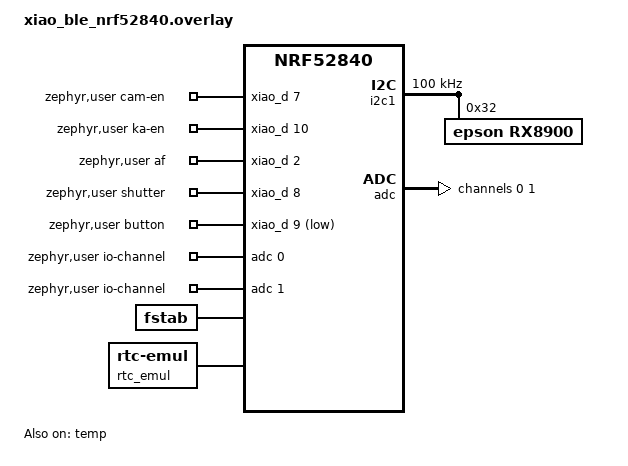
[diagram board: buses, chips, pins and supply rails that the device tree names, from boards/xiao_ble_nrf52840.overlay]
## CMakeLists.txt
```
# SPDX-License-Identifier: Apache-2.0
cmake_minimum_required(VERSION 3.20.0)

find_package(Zephyr REQUIRED HINTS $ENV{ZEPHYR_BASE})
project(shutterclock_fw LANGUAGES C)

add_subdirectory(drivers)

target_sources(app PRIVATE
  src/main.c
  src/camera.c
  src/battery.c
  src/power.c
  src/usb_pm.c
  src/record.c
  src/timekeeping.c
  src/storage.c
  src/ble_adv.c
  src/smp_mgmt.c
  src/config.c
  src/shot_gatt.c
  src/shell_cmds.c
  src/diag.c
  src/wdt_mon.c
)
```

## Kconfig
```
# ShutterClock firmware options

menu "ShutterClock"

config SHUTTERCLOCK_AUTO_PERIOD_S
	int "Automatic trigger period at boot (s, 0 = schedule / shell only)"
	default 0
	help
	  When non-zero the firmware runs a full shot sequence every N seconds
	  without any shell interaction (bench). Can be changed at run time
	  with the 'auto' shell command.

config SHUTTERCLOCK_VBAT_GAIN_PERMILLE
	int "Battery divider trim (per mille, 1000 = nominal 1 M / 100 k)"
	default 1000
	range 900 1100
	help
	  Per-board correction of the x11 divider (resistor tolerance + SAADC
	  gain). Measure VIN with a DMM, compare with 'batt', adjust.

config SHUTTERCLOCK_BLE_ADV_INT_MIN_MS
	int "BLE advertising interval, minimum (ms)"
	default 1000
	range 20 10240

config SHUTTERCLOCK_BLE_ADV_INT_MAX_MS
	int "BLE advertising interval, maximum (ms)"
	default 2000
	range 20 10240

config SHUTTERCLOCK_BOOT_HOLDOFF_MIN
	int "Window for counting consecutive resets (min)"
	default 10
	help
	  Resets that happen within this many minutes of the previous boot are
	  counted as consecutive. There is no scheduler hold-off any more (the
	  scheduler waits for the next slot anyway); the counter only drives the
	  reset-loop halt below, and a BLE connection clears it.

config SHUTTERCLOCK_BOOT_MAX_RESETS
	int "Consecutive resets after which scheduled shots are halted"
	default 12
	range 2 15
	help
	  Reset-loop protection (weak battery browning out on every shot). Cleared
	  by a BLE connection or by running for the window above without a reset.

config SHUTTERCLOCK_WDT_TIMEOUT_S
	int "Hardware watchdog timeout (s)"
	default 120
	range 30 3600
	help
	  Must be longer than the bootloader start-up and the longest shot
	  sequence (boot + release + write timeout, < 60 s).

config SHUTTERCLOCK_TIME_SAVE_MIN
	int "Clock checkpoint period in NVS (min, 0 = off)"
	default 60

config SHUTTERCLOCK_SCHED_DEFAULT_START_MIN
	int "Default window start (local minutes of day)"
	default 420
	help
	  07:00. Overridden by the stored sc/sched/* settings.

config SHUTTERCLOCK_SCHED_DEFAULT_END_MIN
	int "Default window end (local minutes of day)"
	default 1080
	help
	  18:00. Overridden by the stored sc/sched/* settings.

config SHUTTERCLOCK_SCHED_DEFAULT_INTERVAL_MIN
	int "Default trigger interval until configured (min, 0 = off)"
	default 60

config SHUTTERCLOCK_SCHED_DEFAULT_TZ_MIN
	int "Default UTC offset of the site (min)"
	default 540

endmenu

rsource "drivers/Kconfig"

source "Kconfig.zephyr"
```

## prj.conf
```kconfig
# ShutterClock firmware (based on SnowGauge)
# Board: xiao_ble/nrf52840  (Seeed XIAO nRF52840)

# --- Peripherals ---
CONFIG_GPIO=y
CONFIG_SERIAL=y
CONFIG_ADC=y
# nRF52 die temperature sensor (record field temp_dc)
CONFIG_SENSOR=y
CONFIG_TEMP_NRF5=y

# QSPI flash driver so it can be put into deep power-down (records later)
CONFIG_FLASH=y
CONFIG_NORDIC_QSPI_NOR=y

# Device power management (QSPI runtime PM)
CONFIG_PM_DEVICE=y

# --- Console / shell over USB CDC ACM ---
# The xiao_ble board already routes zephyr,console / zephyr,shell-uart to a
# CDC ACM instance (USB device_next stack, initialized at boot).
CONFIG_CDC_ACM_SERIAL_PRODUCT_STRING="ShutterClock"
# Do not enable USB at boot: udc_nrf keeps HFXO + USBD on regardless of VBUS
# (~1.8 mA). usb_pm.c enables the device only while VBUS is present.
CONFIG_CDC_ACM_SERIAL_ENABLE_AT_BOOT=n
CONFIG_UART_LINE_CTRL=y
CONFIG_SHELL=y
CONFIG_SHELL_BACKEND_SERIAL=y
CONFIG_SHELL_PROMPT_UART="sc:~$ "
CONFIG_LOG=y
CONFIG_LOG_DEFAULT_LEVEL=3
CONFIG_CBPRINTF_FP_SUPPORT=y

# --- Misc ---
CONFIG_MAIN_STACK_SIZE=4096
CONFIG_SHELL_STACK_SIZE=4096
CONFIG_BUILD_OUTPUT_UF2=y
CONFIG_REBOOT=y
# Hardware watchdog (wdt_mon.c) + boot diagnostics (diag.c: reset cause via hwinfo,
# fatal errors reboot instead of halting - our own k_sys_fatal_error_handler, so
# CONFIG_RESET_ON_FATAL_ERROR stays off).
CONFIG_WATCHDOG=y

# Debug helpers
CONFIG_DEVICE_SHELL=y

# --- Record storage (step 4a) ---
# LittleFS on the QSPI flash; internal-flash mirror through flash_map.
CONFIG_FILE_SYSTEM=y
CONFIG_FILE_SYSTEM_LITTLEFS=y
CONFIG_FLASH_MAP=y
CONFIG_FLASH_PAGE_LAYOUT=y
CONFIG_FS_LITTLEFS_NUM_FILES=2
CONFIG_FS_LITTLEFS_NUM_DIRS=2
# QSPI flash: runtime PM = deep power-down between accesses (see overlay).
CONFIG_PM_DEVICE_RUNTIME=y
# Only devices with zephyr,pm-device-runtime-auto (the QSPI flash) get runtime
# PM (SnowGauge lesson: the Nordic default enables it for every device).
CONFIG_PM_DEVICE_RUNTIME_DEFAULT_ENABLE=n
CONFIG_NORDIC_QSPI_NOR_ACTIVE_DWELL_MS=50
# Wall clock: emulated RTC behind the `rtc` alias (timekeeping.c); external RX8900 on I2C (v1.2).
CONFIG_RTC=y
CONFIG_I2C=y
# CRC-16 for the record checksum
CONFIG_CRC=y

# --- BLE (step 4b: status advertising; SMP + calibration GATT follow) ---
CONFIG_BT=y
CONFIG_BT_PERIPHERAL=y
CONFIG_BT_DEVICE_NAME="ShutterClock"
CONFIG_BT_DEVICE_NAME_DYNAMIC=y
CONFIG_BT_DEVICE_NAME_MAX=16
CONFIG_BT_MAX_CONN=1
CONFIG_HWINFO=y
# Larger ACL / L2CAP buffers so SMP file download runs at a usable speed
CONFIG_BT_L2CAP_TX_MTU=498
CONFIG_BT_BUF_ACL_RX_SIZE=502
CONFIG_BT_BUF_ACL_TX_SIZE=502
CONFIG_BT_CTLR_DATA_LENGTH_MAX=251

# --- SMP / mcumgr over BLE (step 4c): fs download + os datetime/echo/reset ---
CONFIG_NET_BUF=y
CONFIG_ZCBOR=y
CONFIG_MCUMGR=y
CONFIG_MCUMGR_TRANSPORT_BT=y
CONFIG_MCUMGR_TRANSPORT_BT_PERM_RW=y
CONFIG_MCUMGR_TRANSPORT_BT_CONN_PARAM_CONTROL=y
CONFIG_MCUMGR_TRANSPORT_BT_REASSEMBLY=y
CONFIG_MCUMGR_TRANSPORT_NETBUF_SIZE=2475
CONFIG_MCUMGR_TRANSPORT_WORKQUEUE_STACK_SIZE=4608
CONFIG_MCUMGR_GRP_OS=y
CONFIG_MCUMGR_GRP_OS_ECHO=y
CONFIG_MCUMGR_GRP_OS_DATETIME=y
CONFIG_MCUMGR_GRP_OS_DATETIME_HOOK=y
CONFIG_MCUMGR_GRP_OS_MCUMGR_PARAMS=y
CONFIG_MCUMGR_GRP_OS_INFO=y
CONFIG_MCUMGR_GRP_FS=y
CONFIG_MCUMGR_GRP_FS_MAX_FILE_SIZE_4GB=y
CONFIG_MCUMGR_GRP_FS_FILE_ACCESS_HOOK=y
CONFIG_MCUMGR_MGMT_NOTIFICATION_HOOKS=y
CONFIG_BASE64=y
CONFIG_SYSTEM_WORKQUEUE_STACK_SIZE=2304
# SMP also over the USB shell (bench: smpmgr/smpclient on the dev PC, e.g. datetime)
CONFIG_MCUMGR_TRANSPORT_SHELL=y

# --- Settings (step 4d): schedule + calibration in the internal storage partition ---
CONFIG_NVS=y
CONFIG_SETTINGS=y
CONFIG_SETTINGS_NVS=y
CONFIG_SETTINGS_RUNTIME=y
CONFIG_MCUMGR_GRP_SETTINGS=y
CONFIG_MCUMGR_GRP_SETTINGS_NAME_LEN=32
CONFIG_MCUMGR_GRP_SETTINGS_VALUE_LEN=32
# Shot GATT service
CONFIG_BT_GATT_CLIENT=n

# Board #1 battery divider trim (DMM 11.99 V vs raw 12.23 V, 2026-10-20)
CONFIG_SHUTTERCLOCK_VBAT_GAIN_PERMILLE=980
```

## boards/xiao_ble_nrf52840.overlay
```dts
/*
 * ShutterClock board overlay for Seeed XIAO nRF52840 (non-Sense) on PCB v1.0.
 * Pin map source of truth: pcb/README.md
 *
 *   A0  (P0.02) ADC_NODE   VIN x 100k/(1M+100k), ungated, 100 nF
 *   A1  (P0.03) A1_NODE    camera return current: 0.1 ohm shunt, 10k + 100 nF
 *   D2  (P0.28) AF_DRV     PC817 U4 -> jack ring (half press)
 *   D7  (P1.12) CAM_EN     Q3 -> Q2 -> buck module (camera 9 V)
 *   D8  (P1.13) SHUT_DRV   PC817 U3 -> jack tip (full press)
 *   D9  (P1.14) BTN        test-shot button to GND
 *   D10 (P1.15) KA_EN      Q6 -> Q5 -> keep-alive follower
 */

#include <zephyr/dt-bindings/adc/adc.h>
#include <zephyr/dt-bindings/i2c/i2c.h>
#include <zephyr/dt-bindings/adc/nrf-adc.h>

/*
 * The board DTS enables uart0 (D6/D7), spi2 (D8/D9/D10) and i2c1 (D4/D5).
 * Their pinctrl would claim CAM_EN, SHUTTER, BTN and KA_EN, so the GPIO
 * outputs never reach the pins (found on the first board, 2026-10-20).
 */
&uart0 {
	status = "disabled";
};

&spi2 {
	status = "disabled";
};

/* PCB v1.2: RX8900 RTC module on D4 (SDA) / D5 (SCL). Probed at boot; absent on v1.0/v1.1. */
&i2c1 {
	status = "okay";
	clock-frequency = <I2C_BITRATE_STANDARD>;
	rx8900: rx8900@32 {
		compatible = "epson,rx8900";
		reg = <0x32>;
		status = "okay";
	};
};

/ {
	zephyr,user {
		cam-en-gpios = <&xiao_d 7 GPIO_ACTIVE_HIGH>;
		ka-en-gpios = <&xiao_d 10 GPIO_ACTIVE_HIGH>;
		af-gpios = <&xiao_d 2 GPIO_ACTIVE_HIGH>;
		shutter-gpios = <&xiao_d 8 GPIO_ACTIVE_HIGH>;
		button-gpios = <&xiao_d 9 (GPIO_ACTIVE_LOW | GPIO_PULL_UP)>;
		io-channels = <&adc 0>, <&adc 1>;
	};
};

&adc {
	status = "okay";
	#address-cells = <1>;
	#size-cells = <0>;

	/* Battery divider: node = VIN / 11, 2.7 V at 30 V. FS 0.6 V x 6 = 3.6 V. */
	channel@0 {
		reg = <0>;
		zephyr,gain = "ADC_GAIN_1_6";
		zephyr,reference = "ADC_REF_INTERNAL";
		zephyr,acquisition-time = <ADC_ACQ_TIME(ADC_ACQ_TIME_MICROSECONDS, 40)>;
		zephyr,input-positive = <NRF_SAADC_AIN0>;
		zephyr,resolution = <12>;
		zephyr,oversampling = <4>;
	};

	/* Camera current: 0.1 ohm shunt, FS 0.6 V = 6 A, 1.46 mA/LSB at 12 bit. */
	channel@1 {
		reg = <1>;
		zephyr,gain = "ADC_GAIN_1";
		zephyr,reference = "ADC_REF_INTERNAL";
		zephyr,acquisition-time = <ADC_ACQ_TIME(ADC_ACQ_TIME_MICROSECONDS, 10)>;
		zephyr,input-positive = <NRF_SAADC_AIN1>;
		zephyr,resolution = <12>;
		zephyr,oversampling = <2>;
	};
};

/* nRF52 die temperature (record field temp_dc). */
&temp {
	status = "okay";
};

/*
 * Record storage: QSPI (2 MB P25Q16H), one LittleFS partition over the whole
 * chip; runtime PM keeps the chip in deep power-down between accesses.
 */
&p25q16h {
	zephyr,pm-device-runtime-auto;

	partitions {
		compatible = "fixed-partitions";
		#address-cells = <1>;
		#size-cells = <1>;

		lfs1_part: partition@0 {
			label = "lfs";
			reg = <0x00000000 0x00200000>;
		};
	};
};

/ {
	fstab {
		compatible = "zephyr,fstab";

		lfs1: lfs1 {
			compatible = "zephyr,fstab,littlefs";
			mount-point = "/lfs1";
			partition = <&lfs1_part>;
			read-size = <16>;
			prog-size = <16>;
			cache-size = <64>;
			lookahead-size = <32>;
			block-cycles = <512>;
		};
	};

	/* Emulated calendar clock behind the `rtc` alias (timekeeping.c, mcumgr datetime). */
	rtc_emul: rtc-emul {
		compatible = "zephyr,rtc-emul";
		status = "okay";
	};

	aliases {
		rtc = &rtc_emul;
		extrtc = &rx8900;
	};
};

/*
 * Internal flash (1 MB), same layout as SnowGauge:
 *   0x00000  156 kB  Adafruit bootloader + SoftDevice area (untouched)
 *   0x27000  480 kB  Application (this image)
 *   0x9F000  308 kB  mirror_partition (raw append-only records)
 *   0xEC000   32 kB  storage_partition (settings)
 *   0xF4000   48 kB  bootloader UF2 area (untouched)
 */
&code_partition {
	reg = <0x00027000 0x00078000>;
};

&flash0 {
	partitions {
		mirror_partition: partition@9f000 {
			label = "mirror";
			reg = <0x0009f000 0x0004d000>;
		};
	};
};
```

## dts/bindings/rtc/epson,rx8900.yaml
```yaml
description: Epson RX8900 SA/CE I2C real-time clock module (DTCXO, backup switchover)

compatible: "epson,rx8900"

include: [i2c-device.yaml, rtc-device.yaml]
```

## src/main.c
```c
/*
 * ShutterClock firmware.
 *
 * Boots with the camera unpowered and the release lines off, opens a shell
 * on USB CDC ACM, and triggers the camera on the stored schedule (or every
 * CONFIG_SHUTTERCLOCK_AUTO_PERIOD_S seconds on the bench). Based on the
 * SnowGauge firmware (see PROVENANCE.md).
 */

#include <zephyr/kernel.h>
#include <nrfx.h>
#include <zephyr/logging/log.h>
#include <zephyr/sys/printk.h>
#include <stdarg.h>
#include <stdio.h>
#include <stdbool.h>

#include "app.h"
#include "camera.h"
#include "battery.h"
#include "power.h"
#include "usb_pm.h"
#include "record.h"
#include "storage.h"
#include "timekeeping.h"
#include "ble_adv.h"
#include "config.h"
#include "shot_gatt.h"
#include "diag.h"
#include "wdt_mon.h"

LOG_MODULE_REGISTER(main, CONFIG_LOG_DEFAULT_LEVEL);

static K_SEM_DEFINE(period_changed, 0, 1);
static uint32_t auto_period_s = CONFIG_SHUTTERCLOCK_AUTO_PERIOD_S;
static bool button_shot_pending;

static void config_changed(void)
{
	k_sem_give(&period_changed);
}

void app_wake_scheduler(void)
{
	k_sem_give(&period_changed);
}

void app_set_auto_period(uint32_t seconds)
{
	auto_period_s = seconds;
	k_sem_give(&period_changed);
}

uint32_t app_get_auto_period(void)
{
	return auto_period_s;
}

static bool first_record_after_boot = true;

int app_shoot_and_store(bool manual, struct shot_result *s_out, struct record *r_out)
{
	struct shot_result s;
	struct record r;
	uint32_t epoch = 0;
	int ret;

	wdt_mon_alive(WDT_CH_MEASURE, WDT_MEASURE_TIMEOUT_S);
	ret = camera_shoot(&s);
	if (s_out) {
		*s_out = s;
	}
	if (ret == -ENOTSUP) {
		LOG_WRN("shot skipped (battery) - stored with the battery voltage");
	} else if (ret) {
		LOG_WRN("shot not detected (%d) - stored anyway", ret);
	}

	record_from_shot(&r, &s);
	if (time_now(&epoch) == 0) {
		r.epoch = epoch;
		r.flags |= (time_get_state() == TIME_SYNCED) ? RECORD_FLAG_TIME_SYNCED
							     : RECORD_FLAG_TIME_ESTIMATED;
	}
	if (manual) {
		r.flags |= RECORD_FLAG_MANUAL;
	}
	if (first_record_after_boot) {
		r.flags |= RECORD_FLAG_FIRST_AFTER_BOOT;
		first_record_after_boot = false;
	}
	r.seq = storage_next_seq();

	int sret = storage_append(&r);

	if (sret) {
		LOG_ERR("record %u not stored (%d)", r.seq, sret);
	}
	if (r_out) {
		*r_out = r;
	}
	(void)ble_adv_update(ret != 0 || sret != 0);
	wdt_mon_disarm(WDT_CH_MEASURE);
	return ret ? ret : sret;
}

static void printk_out(void *ctx, const char *fmt, ...)
{
	ARG_UNUSED(ctx);
	va_list ap;
	char line[160];

	va_start(ap, fmt);
	vsnprintf(line, sizeof(line), fmt, ap);
	va_end(ap);
	LOG_INF("%s", line);
}

/* Test-shot button: polled every 100 ms (no GPIO interrupt wiring needed). */
static void button_work_fn(struct k_work *work)
{
	static uint8_t held;

	if (camera_button_pressed()) {
		if (++held == 3) { /* 300 ms debounce / hold */
			button_shot_pending = true;
			k_sem_give(&period_changed);
		}
	} else {
		held = 0;
	}
	k_work_reschedule(k_work_delayable_from_work(work), K_MSEC(100));
}
static K_WORK_DELAYABLE_DEFINE(button_work, button_work_fn);

int main(void)
{
	int ret;

	LOG_INF("ShutterClock FW - board " CONFIG_BOARD_TARGET);
	diag_init();

	ret = battery_init();
	if (ret) {
		LOG_ERR("battery_init: %d", ret);
	}
	ret = power_init();
	if (ret) {
		LOG_ERR("power_init: %d", ret);
	}
	ret = time_init();
	if (ret) {
		LOG_ERR("time_init: %d", ret);
	}
	ret = storage_init();
	if (ret) {
		LOG_ERR("storage_init: %d", ret);
	}
	ret = config_init();
	if (ret) {
		LOG_ERR("config_init: %d", ret);
	}
	ret = camera_init(); /* needs config (always-on mode) */
	if (ret) {
		LOG_ERR("camera_init: %d", ret);
	}
	(void)diag_count_boot(); /* needs the settings subsystem (config_init) */
	(void)time_restore_saved();
	(void)time_restore_extrtc(); /* PCB v1.2: battery-backed RTC overrides the estimate */
	(void)diag_log_boot();
	config_set_change_cb(config_changed);
	ret = ble_adv_init();
	if (ret) {
		LOG_ERR("ble_adv_init: %d", ret);
	}
	ret = shot_gatt_init();
	if (ret) {
		LOG_ERR("shot_gatt_init: %d", ret);
	}
	ret = usb_pm_init();
	if (ret) {
		LOG_ERR("usb_pm_init: %d", ret);
	}
	ret = wdt_mon_init();
	if (ret) {
		LOG_ERR("wdt_mon_init: %d", ret);
	}
	k_work_schedule(&button_work, K_MSEC(500));

	LOG_INF("ready - type 'help' in the USB shell (camera is %s)",
		camera_is_powered() ? "ON" : "OFF");

	bool first = true;

	for (;;) {
		uint32_t period = auto_period_s;

		wdt_mon_alive(WDT_CH_MAIN, WDT_MAIN_TIMEOUT_S);
		if (button_shot_pending) {
			struct shot_result s;
			struct record r;

			button_shot_pending = false;
			LOG_INF("button: test shot");
			led_pulse(50);
			(void)app_shoot_and_store(true, &s, &r);
			shot_print(&s, printk_out, NULL);
			continue;
		}
		if (diag_measure_halted()) {
			/* Reset loop: stay reachable over BLE, do not shoot. */
			k_sem_take(&period_changed, K_MINUTES(10));
			first = true;
			continue;
		}
		if (period != 0) {
			/* Bench mode: fixed period from the shell / Kconfig. */
			if (!first && k_sem_take(&period_changed, K_SECONDS(period)) == 0) {
				first = true;
				continue;
			}
			first = false;
		} else {
			/* Field mode: schedule window from the settings, needs the clock. */
			uint32_t now, next;
			struct app_config c;

			config_get(&c);
			if (c.sched_interval_min == 0) {
				k_sem_take(&period_changed, K_MINUTES(10));
				first = true;
				continue;
			}
			if (time_now(&now) != 0) {
				/*
				 * Clock never set (sync forgotten at installation): still
				 * shoot every interval from boot so nothing is lost; the
				 * records land in rec_notime.bin, ordered by seq.
				 */
				if (!first && k_sem_take(&period_changed, K_MINUTES(c.sched_interval_min)) == 0) {
					first = true;
					continue;
				}
				first = false;
				LOG_WRN("clock unset - shooting on the interval from boot");
			} else if ((next = config_next_trigger(now)) == 0) {
				k_sem_take(&period_changed, K_MINUTES(10));
				first = true;
				continue;
			} else if (next > now) {
				uint32_t wait_s = MIN(next - now, 3600U);

				if (k_sem_take(&period_changed, K_SECONDS(wait_s)) == 0 ||
				    wait_s < next - now) {
					continue; /* config changed, or re-evaluate hourly */
				}
			}
		}

		struct shot_result s;
		struct record r;

		led_pulse(50);
		if (app_shoot_and_store(false, &s, &r) == 0) {
			LOG_INF("record %u stored (%u total)", r.seq, storage_record_count());
		}
		shot_print(&s, printk_out, NULL);
	}
	return 0;
}
```

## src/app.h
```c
/* Application-level state shared between main, the shell and the GATT service. */
#ifndef SHUTTERCLOCK_APP_H
#define SHUTTERCLOCK_APP_H

#include <stdint.h>
#include <stdbool.h>

#include "camera.h"
#include "record.h"

void app_set_auto_period(uint32_t seconds);
void app_wake_scheduler(void);
uint32_t app_get_auto_period(void);

/*
 * Run one shot sequence and store it as a record (LittleFS + mirror).
 * manual = true marks shell/BLE/button-triggered records. *s / *r may be NULL.
 * Returns the storage result (0 = stored) or the shot error.
 */
int app_shoot_and_store(bool manual, struct shot_result *s, struct record *r);

#endif /* SHUTTERCLOCK_APP_H */
```

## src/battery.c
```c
/* Battery voltage measurement - see battery.h */

#include <zephyr/kernel.h>
#include <zephyr/drivers/adc.h>
#include <zephyr/logging/log.h>
#include <errno.h>

#include "battery.h"

LOG_MODULE_REGISTER(battery, CONFIG_LOG_DEFAULT_LEVEL);

/* 1 M + 100 k: node = VIN / 11. Per-board trim: CONFIG_SHUTTERCLOCK_VBAT_GAIN_PERMILLE. */
#define DIVIDER_RATIO 11

static const struct adc_dt_spec adc_node =
	ADC_DT_SPEC_GET_BY_IDX(DT_PATH(zephyr_user), 0);

int battery_init(void)
{
	int ret;

	if (!adc_is_ready_dt(&adc_node)) {
		LOG_ERR("ADC not ready");
		return -ENODEV;
	}
	ret = adc_channel_setup_dt(&adc_node);
	if (ret) {
		LOG_ERR("ADC channel setup failed (%d)", ret);
	}
	return ret;
}

int battery_read_mv(uint16_t *vbat_mv)
{
	int16_t raw;
	int32_t mv;
	int ret;
	struct adc_sequence seq = {
		.buffer = &raw,
		.buffer_size = sizeof(raw),
	};

	*vbat_mv = 0;
	ret = adc_sequence_init_dt(&adc_node, &seq);
	if (ret) {
		return ret;
	}
	ret = adc_read_dt(&adc_node, &seq);
	if (ret) {
		LOG_ERR("ADC read failed (%d)", ret);
		return ret;
	}
	mv = raw;
	ret = adc_raw_to_millivolts_dt(&adc_node, &mv);
	if (ret) {
		return ret;
	}
	if (mv < 0) {
		mv = 0;
	}
	mv = mv * DIVIDER_RATIO * CONFIG_SHUTTERCLOCK_VBAT_GAIN_PERMILLE / 1000;
	*vbat_mv = (uint16_t)MIN(mv, 65535);
	LOG_DBG("raw=%d vbat=%u mV", raw, *vbat_mv);
	return 0;
}
```

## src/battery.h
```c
/*
 * Battery voltage on A0: VIN through an ungated 1 M / 100 k divider
 * (x11), 100 nF at the node. SAADC gain 1/6, 40 us acquisition.
 */
#ifndef SHUTTERCLOCK_BATTERY_H
#define SHUTTERCLOCK_BATTERY_H

#include <stdint.h>

int battery_init(void);

/* Battery voltage in mV (0 on error). */
int battery_read_mv(uint16_t *vbat_mv);

#endif /* SHUTTERCLOCK_BATTERY_H */
```

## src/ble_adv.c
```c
/* BLE advertising - see ble_adv.h */

#include <zephyr/kernel.h>
#include <zephyr/bluetooth/bluetooth.h>
#include <zephyr/bluetooth/conn.h>
#include <zephyr/bluetooth/gap.h>
#include <zephyr/drivers/hwinfo.h>
#include <zephyr/mgmt/mcumgr/transport/smp_bt.h>
#include <zephyr/sys/byteorder.h>
#include <zephyr/logging/log.h>
#include <stdio.h>
#include <string.h>

#include "ble_adv.h"
#include "storage.h"
#include "timekeeping.h"
#include "record.h"
#include "shot_gatt.h"
#include "diag.h"

LOG_MODULE_REGISTER(ble_adv, CONFIG_LOG_DEFAULT_LEVEL);

#define MFG_LEN 18

static uint8_t mfg[2 + MFG_LEN];
static char name[CONFIG_BT_DEVICE_NAME_MAX + 1];
static struct bt_le_adv_param param;
static bool advertising;
static bool connected;
static uint32_t cur_min_ms, cur_max_ms;

static const struct bt_data ad[] = {
	BT_DATA_BYTES(BT_DATA_FLAGS, BT_LE_AD_GENERAL | BT_LE_AD_NO_BREDR),
	BT_DATA(BT_DATA_MANUFACTURER_DATA, mfg, sizeof(mfg)),
};

static struct bt_data sd[] = {
	BT_DATA(BT_DATA_NAME_COMPLETE, name, 0), /* length filled at init */
	BT_DATA_BYTES(BT_DATA_UUID128_ALL, SMP_BT_SVC_UUID_VAL),
};

static void build_payload(bool last_failed)
{
	struct record last;
	bool have_last = (storage_last_record(&last) == 0);
	uint8_t flags = 0;
	int64_t up_h = k_uptime_get() / (3600LL * 1000LL);

	switch (time_get_state()) {
	case TIME_SYNCED:
		flags |= BLE_ADV_FLAG_TIME_SYNCED;
		break;
	case TIME_ESTIMATED:
		flags |= BLE_ADV_FLAG_TIME_ESTIMATED;
		break;
	default:
		break;
	}
	if (have_last && (last.flags & RECORD_FLAG_SHOT_DETECTED)) {
		flags |= BLE_ADV_FLAG_LAST_SHOT_OK;
	}
	if (storage_fs_ok()) {
		flags |= BLE_ADV_FLAG_FS_OK;
	}
	if (storage_mirror_count() >= storage_mirror_capacity()) {
		flags |= BLE_ADV_FLAG_MIRROR_FULL;
	}
	if (last_failed) {
		flags |= BLE_ADV_FLAG_LAST_MEAS_ERR;
	}
	const struct diag_boot *boot = diag_boot_info();

	if (boot->abnormal) {
		flags |= BLE_ADV_FLAG_ABNORMAL_RESET;
	}
	if (boot->halted) {
		flags |= BLE_ADV_FLAG_MEAS_HALTED;
	}

	sys_put_le16(BLE_ADV_COMPANY_ID, &mfg[0]);
	uint8_t *p = &mfg[2];

	p[0] = BLE_ADV_PAYLOAD_VERSION;
	sys_put_le16(have_last ? last.vbat_mv : 0, &p[1]);
	sys_put_le32(storage_record_count(), &p[3]);
	sys_put_le16(have_last ? last.cam_peak_ma : 0xFFFF, &p[7]);
	p[9] = flags;
	sys_put_le32(have_last ? last.epoch : 0, &p[10]);
	sys_put_le16((uint16_t)MIN(up_h, 0xFFFF), &p[14]);
	p[16] = boot->boot_count;
	p[17] = (uint8_t)boot->reset;
}

static int adv_start(void)
{
	int ret;

	if (cur_max_ms == 0) {
		return 0;
	}
	param.id = BT_ID_DEFAULT;
	param.sid = 0;
	param.secondary_max_skip = 0;
	param.options = BT_LE_ADV_OPT_CONN;
	param.interval_min = (uint32_t)(cur_min_ms * 1000 / 625); /* 0.625 ms units */
	param.interval_max = (uint32_t)(cur_max_ms * 1000 / 625);
	param.peer = NULL;

	ret = bt_le_adv_start(&param, ad, ARRAY_SIZE(ad), sd, ARRAY_SIZE(sd));
	if (ret && ret != -EALREADY) {
		LOG_ERR("adv start: %d", ret);
		return ret;
	}
	advertising = true;
	return 0;
}

static void on_connected(struct bt_conn *conn, uint8_t err)
{
	ARG_UNUSED(conn);
	connected = (err == 0);
	LOG_INF("BLE connected (err %u)", err);
	if (err == 0) {
		diag_boots_clear();
	}
}

/*
 * Restart advertising after a disconnect from the system work queue (not
 * from the connection callback): stop first so that the host's own
 * "resume" bookkeeping cannot leave us with adv reported on but not
 * actually running.
 */
static void adv_restart_work_fn(struct k_work *work)
{
	ARG_UNUSED(work);
	if (cur_max_ms == 0) {
		return;
	}
	(void)bt_le_adv_stop();
	advertising = false;
	(void)adv_start();
	LOG_INF("advertising restarted");
}
static K_WORK_DELAYABLE_DEFINE(adv_restart_work, adv_restart_work_fn);

static void on_disconnected(struct bt_conn *conn, uint8_t reason)
{
	ARG_UNUSED(conn);
	connected = false;
	LOG_INF("BLE disconnected (reason 0x%02x)", reason);
	/* The phone went away: stop the live notifications, drop an app-started camera hold. */
	shot_live_stop();
	shot_gatt_on_disconnect();
	k_work_schedule(&adv_restart_work, K_MSEC(200));
}

BT_CONN_CB_DEFINE(conn_cbs) = {
	.connected = on_connected,
	.disconnected = on_disconnected,
};

int ble_adv_init(void)
{
	uint8_t id[8] = { 0 };
	int ret;

	ret = bt_enable(NULL);
	if (ret) {
		LOG_ERR("bt_enable: %d", ret);
		return ret;
	}

	(void)hwinfo_get_device_id(id, sizeof(id));
	/* SC-XXXX: last two bytes of the device ID (7 chars, max 16). The app filters on "SC-". */
	snprintf(name, sizeof(name), "SC-%02X%02X", id[6], id[7]);
	ret = bt_set_name(name);
	if (ret) {
		LOG_WRN("bt_set_name: %d", ret);
	}
	sd[0].data_len = strlen(name);

	build_payload(false);
	cur_min_ms = CONFIG_SHUTTERCLOCK_BLE_ADV_INT_MIN_MS;
	cur_max_ms = CONFIG_SHUTTERCLOCK_BLE_ADV_INT_MAX_MS;
	ret = adv_start();
	if (ret == 0) {
		LOG_INF("advertising as %s, %u-%u ms", name, cur_min_ms, cur_max_ms);
	}
	return ret;
}

int ble_adv_update(bool last_measurement_failed)
{
	int ret;

	build_payload(last_measurement_failed);
	if (!advertising) {
		return 0;
	}
	ret = bt_le_adv_update_data(ad, ARRAY_SIZE(ad), sd, ARRAY_SIZE(sd));
	if (ret && ret != -EALREADY) {
		LOG_WRN("adv update: %d", ret);
	}
	return ret;
}

int ble_adv_set_interval(uint32_t min_ms, uint32_t max_ms)
{
	int ret;

	if (advertising) {
		ret = bt_le_adv_stop();
		if (ret) {
			LOG_WRN("adv stop: %d", ret);
		}
		advertising = false;
	}
	if (max_ms == 0) {
		cur_min_ms = cur_max_ms = 0;
		return 0;
	}
	if (min_ms < 20 || max_ms > 10240 || min_ms > max_ms) {
		return -EINVAL;
	}
	cur_min_ms = min_ms;
	cur_max_ms = max_ms;
	return adv_start();
}

bool ble_adv_is_connected(void)
{
	return connected;
}

bool ble_adv_is_healthy(void)
{
	return connected || advertising || cur_max_ms == 0;
}

void ble_adv_status(void (*out)(void *ctx, const char *fmt, ...), void *ctx)
{
	char hex[2 * sizeof(mfg) + 1];

	for (size_t i = 0; i < sizeof(mfg); i++) {
		snprintf(&hex[2 * i], 3, "%02x", mfg[i]);
	}
	out(ctx, "name=%s  adv=%s (%u-%u ms)  connected=%s", name,
	    advertising ? "on" : "off", cur_min_ms, cur_max_ms, connected ? "yes" : "no");
	out(ctx, "manufacturer data: %s", hex);
}
```

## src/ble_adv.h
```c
/*
 * BLE advertising with a status payload (spec section 12.2, layer 3).
 *
 * Connectable undirected advertising at a slow interval; the device name
 * "SC-XXXX", XXXX = last two bytes of the
 * device ID, goes in the scan response.
 * Manufacturer Data (company ID 0xFFFF = unassigned/test) carries:
 *
 *  off size field
 *    0   1  payload version (2)
 *    1   2  vbat_end_mv of the last record (0 = none)
 *    3   4  record count
 *    7   2  last camera current peak (mA; 0xFFFF = none)
 *    9   1  status flags (BLE_ADV_FLAG_*)
 *   10   4  epoch of the last record (0 = none)
 *   14   2  uptime (hours, saturating)
 *   16   1  consecutive boot count (1 = clean start; see diag.h)     [v2]
 *   17   1  last reset cause (enum diag_reset: 0 power/brown-out, 1 pin,
 *           2 software, 3 watchdog, 4 lockup, 5 fatal error)          [v2]
 *
 * Read with any scanner (nRF Connect) during a site visit without
 * connecting.
 */
#ifndef SHUTTERCLOCK_BLE_ADV_H
#define SHUTTERCLOCK_BLE_ADV_H

#include <stdint.h>
#include <stdbool.h>

#define BLE_ADV_COMPANY_ID     0xFFFF
#define BLE_ADV_PAYLOAD_VERSION 3

#define BLE_ADV_FLAG_TIME_SYNCED    BIT(0)
#define BLE_ADV_FLAG_TIME_ESTIMATED BIT(1)
#define BLE_ADV_FLAG_LAST_SHOT_OK   BIT(2)
#define BLE_ADV_FLAG_FS_OK          BIT(3)
#define BLE_ADV_FLAG_MIRROR_FULL    BIT(4)
#define BLE_ADV_FLAG_LAST_MEAS_ERR  BIT(5)
#define BLE_ADV_FLAG_ABNORMAL_RESET BIT(6) /* this boot follows a watchdog / lockup / fatal reset */
#define BLE_ADV_FLAG_MEAS_HALTED    BIT(7) /* reset loop: scheduled measurements suspended */

/* Enable Bluetooth, set the name and start advertising. */
int ble_adv_init(void);

/* Rebuild the payload from storage/time state (call after each record). */
int ble_adv_update(bool last_measurement_failed);

/* Restart advertising with a new interval window (ms). 0 = stop. */
int ble_adv_set_interval(uint32_t min_ms, uint32_t max_ms);

/* True while a central is connected. */
bool ble_adv_is_connected(void);

/*
 * True when the radio side is doing what it should: advertising, or a
 * central connected, or advertising deliberately off. Watchdog condition.
 */
bool ble_adv_is_healthy(void);

/* Status for the shell. */
void ble_adv_status(void (*out)(void *ctx, const char *fmt, ...), void *ctx);

#endif /* SHUTTERCLOCK_BLE_ADV_H */
```

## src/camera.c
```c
/* Camera control - see camera.h */

#include <zephyr/kernel.h>
#include <zephyr/device.h>
#include <zephyr/drivers/gpio.h>
#include <zephyr/drivers/adc.h>
#include <zephyr/drivers/sensor.h>
#include <zephyr/logging/log.h>
#include <errno.h>
#include <string.h>

#include "camera.h"
#include "config.h"
#include "battery.h"

LOG_MODULE_REGISTER(camera, CONFIG_LOG_DEFAULT_LEVEL);

static const struct gpio_dt_spec cam_en = GPIO_DT_SPEC_GET(DT_PATH(zephyr_user), cam_en_gpios);
static const struct gpio_dt_spec ka_en = GPIO_DT_SPEC_GET(DT_PATH(zephyr_user), ka_en_gpios);
static const struct gpio_dt_spec af_pin = GPIO_DT_SPEC_GET(DT_PATH(zephyr_user), af_gpios);
static const struct gpio_dt_spec shutter_pin =
	GPIO_DT_SPEC_GET(DT_PATH(zephyr_user), shutter_gpios);
static const struct gpio_dt_spec btn = GPIO_DT_SPEC_GET(DT_PATH(zephyr_user), button_gpios);
static const struct adc_dt_spec adc_cur = ADC_DT_SPEC_GET_BY_IDX(DT_PATH(zephyr_user), 1);

K_MUTEX_DEFINE(camera_lock);

static bool powered, keepalive;
static int64_t powered_since_ms;
static uint32_t hold_until_s;

static void hold_off_work_fn(struct k_work *work);
static K_WORK_DELAYABLE_DEFINE(hold_off_work, hold_off_work_fn);
static void ka_off_work_fn(struct k_work *work);
static K_WORK_DELAYABLE_DEFINE(ka_off_work, ka_off_work_fn);
static void ka_watch_work_fn(struct k_work *work);
static K_WORK_DELAYABLE_DEFINE(ka_watch_work, ka_watch_work_fn);

int camera_read_ma(uint16_t *ma)
{
	int16_t raw;
	int32_t mv;
	int ret;
	struct adc_sequence seq = {
		.buffer = &raw,
		.buffer_size = sizeof(raw),
	};

	ret = adc_sequence_init_dt(&adc_cur, &seq);
	if (ret == 0) {
		ret = adc_read_dt(&adc_cur, &seq);
	}
	if (ret) {
		return ret;
	}
	mv = raw;
	ret = adc_raw_to_millivolts_dt(&adc_cur, &mv);
	if (ret) {
		return ret;
	}
	if (mv < 0) {
		mv = 0;
	}
	*ma = (uint16_t)MIN(mv * 10, 65535); /* 0.1 ohm: 1 mV = 10 mA */
	return 0;
}

static uint16_t read_ma_or_zero(void)
{
	uint16_t ma = 0;

	(void)camera_read_ma(&ma);
	return ma;
}

static int16_t die_temp_dc(void)
{
#if DT_HAS_COMPAT_STATUS_OKAY(nordic_nrf_temp)
	const struct device *dev = DEVICE_DT_GET_ONE(nordic_nrf_temp);
	struct sensor_value v;

	if (device_is_ready(dev) && sensor_sample_fetch(dev) == 0 &&
	    sensor_channel_get(dev, SENSOR_CHAN_DIE_TEMP, &v) == 0) {
		return (int16_t)(v.val1 * 10 + v.val2 / 100000);
	}
#endif
	return INT16_MIN;
}

int camera_power(bool on)
{
	int ret;

	if (on) {
		ret = gpio_pin_set_dt(&cam_en, 1);
		if (ret) {
			return ret;
		}
		if (!powered) {
			powered_since_ms = k_uptime_get();
		}
		powered = true;
		if (keepalive) {
			/* The buck overrides the follower; drop the keep-alive path. */
			(void)gpio_pin_set_dt(&ka_en, 0);
			keepalive = false;
			k_work_cancel_delayable(&ka_off_work);
			k_work_cancel_delayable(&ka_watch_work);
		}
		LOG_DBG("camera power ON");
		return 0;
	}
	ret = gpio_pin_set_dt(&cam_en, 0);
	powered = false;
	LOG_DBG("camera power OFF%s", keepalive ? " (keep-alive stays on)" : "");
	return ret;
}

bool camera_is_powered(void)
{
	return powered;
}

int camera_keepalive(bool on)
{
	if (on) {
		if (!powered) {
			return -EPERM; /* C3 must already sit at 9 V */
		}
		int ret = gpio_pin_set_dt(&ka_en, 1);

		if (ret) {
			return ret;
		}
		keepalive = true;
		k_work_schedule(&ka_watch_work, K_SECONDS(2));
		return 0;
	}
	k_work_cancel_delayable(&ka_off_work);
	k_work_cancel_delayable(&ka_watch_work);
	keepalive = false;
	return gpio_pin_set_dt(&ka_en, 0);
}

bool camera_keepalive_is_on(void)
{
	return keepalive;
}

static void ka_off_work_fn(struct k_work *work)
{
	ARG_UNUSED(work);
	(void)camera_keepalive(false);
	LOG_INF("keep-alive off");
}

/* Camera woke up on the follower (someone pressed a button): hand it the buck. */
static void ka_watch_work_fn(struct k_work *work)
{
	ARG_UNUSED(work);
	if (!keepalive || powered) {
		return;
	}
	if (read_ma_or_zero() > CAMERA_KA_ABORT_MA) {
		LOG_WRN("camera awake on keep-alive - buck on");
		(void)camera_power(true);
		(void)camera_hold(2);
		return;
	}
	k_work_schedule(&ka_watch_work, K_SECONDS(2));
}

static void hold_off_work_fn(struct k_work *work)
{
	ARG_UNUSED(work);
	struct app_config c;

	config_get(&c);
	hold_until_s = 0;
	if (c.cam_mode == CAM_MODE_ALWAYS_ON) {
		return;
	}
	k_mutex_lock(&camera_lock, K_FOREVER);
	(void)camera_power(false);
	k_mutex_unlock(&camera_lock);
	LOG_INF("camera hold ended - power off");
}

int camera_hold(uint32_t minutes)
{
	int ret = 0;

	if (minutes == 0) {
		k_work_cancel_delayable(&hold_off_work);
		hold_until_s = 0;
		struct app_config c;

		config_get(&c);
		if (c.cam_mode != CAM_MODE_ALWAYS_ON) {
			ret = camera_power(false);
		}
		return ret;
	}
	ret = camera_power(true);
	if (ret) {
		return ret;
	}
	hold_until_s = (uint32_t)(k_uptime_get() / 1000) + minutes * 60U;
	k_work_reschedule(&hold_off_work, K_MINUTES(minutes));
	LOG_INF("camera on for %u min", minutes);
	return 0;
}

uint32_t camera_hold_left_s(void)
{
	uint32_t now = (uint32_t)(k_uptime_get() / 1000);

	return hold_until_s > now ? hold_until_s - now : 0;
}

int camera_af(bool on)
{
	if (keepalive && !powered) {
		return -EPERM;
	}
	return gpio_pin_set_dt(&af_pin, on ? 1 : 0);
}

int camera_shutter(bool on)
{
	if (keepalive && !powered) {
		return -EPERM;
	}
	return gpio_pin_set_dt(&shutter_pin, on ? 1 : 0);
}

int camera_release(uint32_t af_ms, uint32_t shutter_ms)
{
	int ret = camera_af(true);

	if (ret) {
		return ret;
	}
	k_sleep(K_MSEC(af_ms));
	ret = camera_shutter(true);
	k_sleep(K_MSEC(shutter_ms));
	(void)camera_shutter(false);
	(void)camera_af(false);
	return ret;
}

bool camera_button_pressed(void)
{
	return gpio_pin_get_dt(&btn) == 1;
}

/*
 * Release once and watch the current: returns the peak (mA) and the time of
 * the peak relative to AF on. Samples every ~2 ms until shutter_ms + 1500 ms.
 */
static uint16_t release_and_watch(uint32_t af_ms, uint32_t shutter_ms, uint16_t *peak_at_ms)
{
	int64_t t0 = k_uptime_get();
	int64_t t_shutter_on = t0 + af_ms;
	int64_t t_shutter_off = t_shutter_on + shutter_ms;
	int64_t t_end = t_shutter_off + 1500;
	bool shutter_on = false, released = false;
	uint16_t peak = 0;

	*peak_at_ms = 0;
	(void)camera_af(true);
	while (k_uptime_get() < t_end) {
		int64_t now = k_uptime_get();
		uint16_t ma = read_ma_or_zero();

		if (ma > peak) {
			peak = ma;
			*peak_at_ms = (uint16_t)MIN(now - t0, 65535);
		}
		if (!shutter_on && now >= t_shutter_on) {
			(void)camera_shutter(true);
			shutter_on = true;
		}
		if (shutter_on && !released && now >= t_shutter_off) {
			(void)camera_shutter(false);
			(void)camera_af(false);
			released = true;
		}
		k_sleep(K_MSEC(2));
	}
	if (!released) {
		(void)camera_shutter(false);
		(void)camera_af(false);
	}
	return peak;
}

int camera_shoot(struct shot_result *r)
{
	struct app_config c;
	int64_t t0, t_af;
	int ret;

	memset(r, 0, sizeof(*r));
	r->t_boot_ms = 0xFFFF;
	r->t_awake_ms = 0xFFFF;
	r->temp_dc = INT16_MIN;
	r->uptime_ms = k_uptime_get();
	config_get(&c);
	r->always_on = (c.cam_mode == CAM_MODE_ALWAYS_ON);
	r->n_shots = MAX(c.cam_n_shots, 1);

	k_mutex_lock(&camera_lock, K_FOREVER);
	(void)battery_read_mv(&r->vbat_mv);
	r->temp_dc = die_temp_dc();
	if (r->vbat_mv != 0 && r->vbat_mv < c.cam_vbat_min_mv) {
		LOG_WRN("vbat %u mV below %u mV - shot skipped", r->vbat_mv, c.cam_vbat_min_mv);
		r->ret = -ENOTSUP;
		k_mutex_unlock(&camera_lock);
		return r->ret;
	}

	bool was_powered = powered;

	t0 = k_uptime_get();
	ret = camera_power(true); /* also drops keep-alive */
	if (ret) {
		r->ret = ret;
		k_mutex_unlock(&camera_lock);
		return ret;
	}
	if (!was_powered) {
		/* Boot: the camera draws > CAMERA_BOOT_MA within ~0.5 s; wait boot_ms anyway. */
		int64_t t_boot_end = t0 + c.cam_boot_ms;

		while (k_uptime_get() < t_boot_end) {
			if (r->t_boot_ms == 0xFFFF && read_ma_or_zero() > CAMERA_BOOT_MA) {
				r->t_boot_ms = (uint16_t)MIN(k_uptime_get() - t0, 65534);
			}
			k_sleep(K_MSEC(20));
		}
	}
	/* Idle current before the release (10 samples). */
	uint32_t acc = 0;

	for (int i = 0; i < 10; i++) {
		acc += read_ma_or_zero();
		k_sleep(K_MSEC(5));
	}
	r->cam_idle_ma = acc / 10;
	(void)battery_read_mv(&r->vbat_load_mv);

	t_af = k_uptime_get();
	for (uint8_t i = 0; i < r->n_shots; i++) {
		uint16_t at;
		uint16_t peak = release_and_watch(c.cam_af_ms, c.cam_shutter_ms, &at);

		if (peak > r->cam_peak_ma) {
			r->cam_peak_ma = peak;
			r->shot_ms = (uint16_t)MIN(k_uptime_get() - t_af - 1500 - c.cam_shutter_ms -
							   c.cam_af_ms + at, 65535);
		}
		if (i + 1 < r->n_shots) {
			k_sleep(K_MSEC(c.cam_shot_gap_ms));
		}
	}
	r->shot_detected = r->cam_peak_ma >= CAMERA_SHOT_MA;

	/* Wait for standby (= card write finished and standby timer expired). */
	int64_t t_timeout = k_uptime_get() + (int64_t)c.cam_write_timeout_s * 1000;
	int below = 0;

	while (k_uptime_get() < t_timeout) {
		if (read_ma_or_zero() < CAMERA_STANDBY_MA) {
			if (++below >= 10) { /* 500 ms continuously below */
				r->write_done = true;
				r->t_awake_ms = (uint16_t)MIN(k_uptime_get() - t_af - 500, 65534);
				break;
			}
		} else {
			below = 0;
		}
		k_sleep(K_MSEC(50));
	}
	if (!r->write_done) {
		LOG_WRN("camera did not return to standby within %u s", c.cam_write_timeout_s);
	}

	if (!r->always_on && camera_hold_left_s() == 0) {
		if (c.cam_ka_min > 0 && r->write_done) {
			ret = camera_keepalive(true);
			if (ret == 0) {
				r->keepalive = true;
				k_work_reschedule(&ka_off_work, K_MINUTES(c.cam_ka_min));
			}
		}
		(void)camera_power(false);
		r->cam_on_ms = (uint16_t)MIN(k_uptime_get() - t0, 65535);
	}
	r->ret = r->shot_detected ? 0 : -EIO;
	k_mutex_unlock(&camera_lock);
	return r->ret;
}

void shot_print(const struct shot_result *r,
		void (*out)(void *ctx, const char *fmt, ...), void *ctx)
{
	out(ctx, "t=%lld ms  vbat=%u/%u mV (before/awake)  temp=%d.%d C", r->uptime_ms,
	    r->vbat_mv, r->vbat_load_mv, r->temp_dc / 10, abs(r->temp_dc % 10));
	if (r->ret == -ENOTSUP) {
		out(ctx, "skipped: battery below the cutoff");
		return;
	}
	out(ctx, "boot=%u ms  idle=%u mA  peak=%u mA at %u ms  %s", r->t_boot_ms, r->cam_idle_ma,
	    r->cam_peak_ma, r->shot_ms, r->shot_detected ? "SHOT DETECTED" : "no shot detected");
	out(ctx, "awake=%u ms (%s)  on=%u ms  shots=%u  mode=%s%s", r->t_awake_ms,
	    r->write_done ? "standby reached" : "TIMEOUT", r->cam_on_ms, r->n_shots,
	    r->always_on ? "always-on" : "per-shot", r->keepalive ? "  keep-alive on" : "");
}

int camera_init(void)
{
	int ret;

	if (!gpio_is_ready_dt(&cam_en) || !gpio_is_ready_dt(&ka_en) || !gpio_is_ready_dt(&af_pin) ||
	    !gpio_is_ready_dt(&shutter_pin) || !gpio_is_ready_dt(&btn)) {
		LOG_ERR("camera GPIOs not ready");
		return -ENODEV;
	}
	ret = gpio_pin_configure_dt(&cam_en, GPIO_OUTPUT_INACTIVE);
	ret |= gpio_pin_configure_dt(&ka_en, GPIO_OUTPUT_INACTIVE);
	ret |= gpio_pin_configure_dt(&af_pin, GPIO_OUTPUT_INACTIVE);
	ret |= gpio_pin_configure_dt(&shutter_pin, GPIO_OUTPUT_INACTIVE);
	ret |= gpio_pin_configure_dt(&btn, GPIO_INPUT);
	if (ret) {
		LOG_ERR("camera GPIO configure failed (%d)", ret);
		return ret;
	}
	if (!adc_is_ready_dt(&adc_cur)) {
		LOG_ERR("ADC not ready");
		return -ENODEV;
	}
	ret = adc_channel_setup_dt(&adc_cur);
	if (ret) {
		LOG_ERR("current ADC channel setup failed (%d)", ret);
		return ret;
	}
	struct app_config c;

	config_get(&c);
	if (c.cam_mode == CAM_MODE_ALWAYS_ON) {
		(void)camera_power(true);
		LOG_INF("camera always-on mode: power ON");
	}
	return 0;
}
```

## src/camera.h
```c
/*
 * Camera control: power (CAM_EN -> Q3/Q2 -> buck), keep-alive path (KA_EN ->
 * Q6/Q5 -> follower), wired release through two optocouplers (AF = half
 * press, SHUTTER = full press) and the low-side current sense on A1.
 * Pin map: pcb/README.md. Shot sequence and rules: spec v0.11 section 6.1.
 *
 *  shoot:  [power on -> boot wait] -> AF on -> af_ms -> SHUTTER on -> shutter_ms
 *          -> both off -> wait until the camera is back in standby (current
 *          below CAMERA_STANDBY_MA) or write_timeout -> [keep-alive on ->
 *          power off -> keep-alive off after ka_min] (power-per-shot mode)
 *
 *  Rules enforced here: the release is never driven while only the
 *  keep-alive path is on; keep-alive is entered only from power-on; while
 *  on keep-alive a current above CAMERA_KA_ABORT_MA switches the buck back on.
 */
#ifndef SHUTTERCLOCK_CAMERA_H
#define SHUTTERCLOCK_CAMERA_H

#include <stdint.h>
#include <stdbool.h>
#include <zephyr/kernel.h>

#define CAMERA_STANDBY_MA   50   /* below this the camera is in standby (0.42 mA measured) */
#define CAMERA_SHOT_MA      1000 /* mirror/shutter peak: 3-4 A measured on the D7500 */
#define CAMERA_BOOT_MA      100  /* current rises above this once the camera has booted */
#define CAMERA_KA_ABORT_MA  50   /* camera woke up on keep-alive -> back to the buck */

struct shot_result {
	int64_t uptime_ms;
	uint16_t vbat_mv;        /* before the camera was powered */
	uint16_t vbat_load_mv;   /* while the camera was awake */
	uint16_t cam_idle_ma;    /* awake, before the release */
	uint16_t cam_peak_ma;    /* highest sample during the release window */
	uint16_t t_boot_ms;      /* power on -> current above CAMERA_BOOT_MA (0xFFFF = already on) */
	uint16_t shot_ms;        /* AF on -> peak sample */
	uint16_t t_awake_ms;     /* AF on -> back in standby (0xFFFF = timeout) */
	uint16_t cam_on_ms;      /* buck on time for this shot (0 = always-on mode) */
	int16_t temp_dc;         /* nRF die temperature, 0.1 degC; INT16_MIN = n/a */
	int ret;                 /* 0 ok, -ENOTSUP battery too low (skipped), <0 error */
	bool shot_detected;
	bool write_done;
	bool keepalive;          /* keep-alive engaged after the shot */
	bool always_on;
	uint8_t n_shots;
};

int camera_init(void);

/* Buck path (CAM_EN). Turning on while keep-alive is on also drops keep-alive. */
int camera_power(bool on);
bool camera_is_powered(void);

/* Keep-alive path (KA_EN). Refused (-EPERM) unless the buck is on. */
int camera_keepalive(bool on);
bool camera_keepalive_is_on(void);

/* Raw release lines (bench). Refused (-EPERM) while only keep-alive is on. */
int camera_af(bool on);
int camera_shutter(bool on);

/* AF on -> af_ms -> SHUTTER on -> shutter_ms -> both off. */
int camera_release(uint32_t af_ms, uint32_t shutter_ms);

/* Camera current from the A1 shunt (mA). */
int camera_read_ma(uint16_t *ma);

/* Full sequence according to the stored configuration (config.h). */
int camera_shoot(struct shot_result *r);

/*
 * Installation helper: keep the buck on for `minutes` (0 = off now) so the
 * user can frame the shot; auto-off afterwards (unless always-on mode).
 */
int camera_hold(uint32_t minutes);
uint32_t camera_hold_left_s(void);

/* Test-shot button (D9, active low, internal pull-up). */
bool camera_button_pressed(void);

/* Owner lock: shoot, hold and the GATT live view do not interleave. */
extern struct k_mutex camera_lock;

void shot_print(const struct shot_result *r,
		void (*out)(void *ctx, const char *fmt, ...), void *ctx);

#endif /* SHUTTERCLOCK_CAMERA_H */
```

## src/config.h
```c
/*
 * Persistent configuration (Zephyr settings on the internal storage
 * partition, NVS backend). Readable/writable over SMP settings mgmt from
 * the Web Bluetooth page and the shell ('cfg').
 *
 * Keys (all little-endian integers, sizes as in struct app_config):
 *   sc/sched/start_min       local minutes-of-day the window opens   (u16, 0..1439)
 *   sc/sched/end_min         local minutes-of-day the window closes  (u16; == start = all day,
 *                                                                     < start = spans midnight)
 *   sc/sched/interval_min    minutes between triggers                (u16; 0 = scheduler off)
 *   sc/sched/tz_min          UTC offset of the site in minutes       (i16, e.g. 540 = JST)
 *   sc/cam/mode              0 = power per shot, 1 = always on       (u8)
 *   sc/cam/boot_ms           wait after power on before the release  (u16)
 *   sc/cam/af_ms             AF (half press) before the shutter      (u16)
 *   sc/cam/shutter_ms        SHUTTER (full press) pulse              (u16)
 *   sc/cam/ka_min            keep-alive after each shot, minutes     (u16; 0 = off)
 *   sc/cam/vbat_min_mv       no shot below this battery voltage      (u16)
 *   sc/cam/n_shots           releases per trigger                    (u8, 1..10)
 *   sc/cam/shot_gap_ms       gap between releases                    (u16)
 *   sc/cam/write_timeout_s   max wait for standby after the shot     (u8)
 */
#ifndef SHUTTERCLOCK_CONFIG_H
#define SHUTTERCLOCK_CONFIG_H

#include <stdint.h>
#include <stdbool.h>

#define CAM_MODE_PER_SHOT  0
#define CAM_MODE_ALWAYS_ON 1

struct app_config {
	uint16_t sched_start_min;
	uint16_t sched_end_min;
	uint16_t sched_interval_min;
	int16_t tz_min;
	uint8_t cam_mode;
	uint16_t cam_boot_ms;
	uint16_t cam_af_ms;
	uint16_t cam_shutter_ms;
	uint16_t cam_ka_min;
	uint16_t cam_vbat_min_mv;
	uint8_t cam_n_shots;
	uint16_t cam_shot_gap_ms;
	uint8_t cam_write_timeout_s;
};

/* Init the settings subsystem and load the stored values. */
int config_init(void);

/* Current values (copy). */
void config_get(struct app_config *out);

/* Replace and persist. Wakes the scheduler. */
int config_set(const struct app_config *cfg);

/* Set one key by its short name ("sched/interval_min") from the shell. */
int config_set_key(const char *name, int32_t value);

/* Print all keys. */
void config_print(void (*out)(void *ctx, const char *fmt, ...), void *ctx);

/*
 * Next scheduled trigger at or after now_epoch (UTC), or 0 when the
 * scheduler is off. start == end means "all day".
 */
uint32_t config_next_trigger(uint32_t now_epoch);

/* Register a callback run (from the caller's context) after any change. */
void config_set_change_cb(void (*cb)(void));

#endif /* SHUTTERCLOCK_CONFIG_H */
```

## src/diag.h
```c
/*
 * Boot diagnostics: why did we (re)start, how often, and was it a crash.
 *
 * - Reset cause from the SoC (hwinfo / RESETREAS), cleared after reading so
 *   the next boot sees only its own cause. RESETREAS == 0 means power-on or
 *   brown-out; the nRF52 cannot tell them apart.
 * - Fatal errors (CPU exception, stack overflow, k_panic ...) reboot the
 *   device instead of spinning (k_sys_fatal_error_handler below), leaving a
 *   reason code in GPREGRET2 for the next boot to report.
 * - Consecutive-reset counter in the settings (NVS key "sgd/boots"):
 *   GPREGRET2 turned out to be cleared by a watchdog reset (measured
 *   2026-09-07; only a soft reset retains it), so the counter lives in
 *   flash and survives every kind of reset including a power cycle. It is
 *   cleared after one hold-off window of normal operation. Drives the
 *   scheduler hold-off and, past CONFIG_SHUTTERCLOCK_BOOT_MAX_RESETS, a
 *   "measurements halted" mode that keeps advertising so the site visit
 *   can still read the device (a reboot after the counter cleared resumes).
 * - One text line per boot appended to /lfs1/boot.log (diag_log_boot()).
 *
 * GPREGRET2 = DIAG_FATAL_* reason of the last fatal error (0 = none); it is
 * written by the fatal handler right before the soft reset.
 */
#ifndef SNOWGAUGE_DIAG_H
#define SNOWGAUGE_DIAG_H

#include <stdint.h>
#include <stdbool.h>
#include <stddef.h>

enum diag_fatal {
	DIAG_FATAL_NONE = 0,
	DIAG_FATAL_CPU_EXCEPTION,
	DIAG_FATAL_SPURIOUS_IRQ,
	DIAG_FATAL_STACK_OVERFLOW,
	DIAG_FATAL_OOPS,
	DIAG_FATAL_PANIC,
	DIAG_FATAL_UNKNOWN,
};

/* Compact reset cause for the BLE advertisement / boot.log. */
enum diag_reset {
	DIAG_RESET_POWER = 0,   /* power-on or brown-out (RESETREAS == 0) */
	DIAG_RESET_PIN,
	DIAG_RESET_SOFTWARE,    /* sys_reboot / dfu / mcumgr reset */
	DIAG_RESET_WATCHDOG,
	DIAG_RESET_LOCKUP,
	DIAG_RESET_FATAL,       /* software reset issued by the fatal error handler */
	DIAG_RESET_OTHER,
};

struct diag_boot {
	uint32_t hw_cause;        /* raw hwinfo RESET_* flags */
	enum diag_reset reset;
	enum diag_fatal fatal;    /* reason left by the previous run, if any */
	uint8_t boot_count;       /* consecutive resets incl. this boot (1 = clean) */
	bool abnormal;            /* watchdog, lockup or fatal error */
	bool halted;              /* boot_count reached CONFIG_SHUTTERCLOCK_BOOT_MAX_RESETS */
};

/* Read + clear the reset cause and the fatal reason. Call first thing in main(). */
void diag_init(void);

/*
 * Load + increment the consecutive-reset counter (settings must be
 * initialised, i.e. after config_init()). Computes halted (reset-loop protection).
 */
int diag_count_boot(void);

const struct diag_boot *diag_boot_info(void);

/* Scheduled measurements are suspended for this boot (reset loop protection). */
bool diag_measure_halted(void);

/* Uptime (ms) before which the scheduler must not shoot (always 0 since 2026-10-21; kept for the GATT field). */
int64_t diag_holdoff_until_ms(void);

/*
 * Clear the consecutive-reset counter and the halt (called on BLE connect: a
 * person is there). Updates RAM at once; the flash write is deferred to the
 * system work queue, so this is safe from Bluetooth callbacks.
 */
void diag_boots_clear(void);

/* Append the boot line to /lfs1/boot.log (after storage_init + clock restore). */
int diag_log_boot(void);

const char *diag_reset_str(enum diag_reset r);
const char *diag_fatal_str(enum diag_fatal f);

/* Human readable summary for the shell. */
void diag_print(void (*out)(void *ctx, const char *fmt, ...), void *ctx);

#endif /* SNOWGAUGE_DIAG_H */
```
